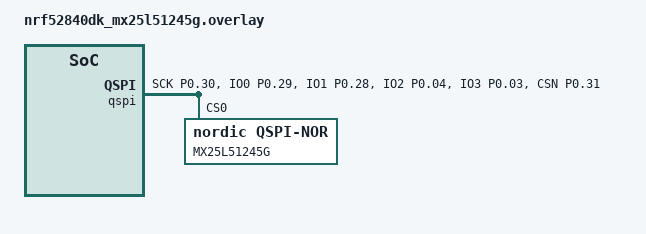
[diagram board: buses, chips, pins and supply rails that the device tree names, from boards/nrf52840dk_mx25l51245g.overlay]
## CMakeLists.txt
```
# SPDX-License-Identifier: Apache-2.0

cmake_minimum_required(VERSION 3.13.1)
find_package(Zephyr REQUIRED HINTS $ENV{ZEPHYR_BASE})
project(nrf_qspi_nor)

FILE(GLOB app_sources src/*.c)
target_sources(app PRIVATE ${app_sources})
```

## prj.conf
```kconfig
CONFIG_TEST=y
CONFIG_ZTEST=y
CONFIG_ZTEST_NEW_API=y
CONFIG_FLASH=y
CONFIG_MAIN_STACK_SIZE=2048
```

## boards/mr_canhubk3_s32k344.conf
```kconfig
# Copyright 2023 NXP
# SPDX-License-Identifier: Apache-2.0

CONFIG_MAIN_STACK_SIZE=1100
```

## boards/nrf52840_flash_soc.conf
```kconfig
# Minimal configuration for testing flash driver
# on nrf52840dk_nrf52840 board

CONFIG_MPU_ALLOW_FLASH_WRITE=y
```

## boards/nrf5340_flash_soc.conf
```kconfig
# Minimal configuration for testing flash driver
# on nrf5340dk_nrf5340 board

CONFIG_MPU_ALLOW_FLASH_WRITE=y
```

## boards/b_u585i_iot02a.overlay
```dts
/*
 * Copyright (c) 2022 STMicroelectronics
 *
 * SPDX-License-Identifier: Apache-2.0
 */

&flash0 {
	partitions {
		compatible = "fixed-partitions";
		#address-cells = <1>;
		#size-cells = <1>;

		/* Set 8KB of storage at the end of 2MB flash */
		storage_partition: partition@1fe000 {
			label = "storage";
			reg = <0x01fe000 0x00002000>;
		};
	};
};
```

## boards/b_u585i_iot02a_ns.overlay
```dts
/*
 * Copyright (c) 2022, STMicroelectronics
 *
 * SPDX-License-Identifier: Apache-2.0
 */
 /{
	chosen {
		zephyr,code-partition = &slot1_ns_partition;
	};
};

&flash0 {
	partitions {
	/delete-node/ slot1_partition;
		/* Non-secure image primary slot */
		slot1_ns_partition: partition@74000 {
			label = "image-1-nonsecure";
			reg = <0x00074000 DT_SIZE_K(512)>;
		};
	};
};
```

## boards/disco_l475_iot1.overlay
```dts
/*
 * Copyright (c) 2022 STMicroelectronics
 *
 * SPDX-License-Identifier: Apache-2.0
 */

&flash0 {
	partitions {
		compatible = "fixed-partitions";
		#address-cells = <1>;
		#size-cells = <1>;

		/* Set 4KB of storage at the end of 1MB flash */
		storage_partition: partition@ff000 {
			label = "storage";
			reg = <0x00ff000 0x00001000>;
		};
	};
};
```

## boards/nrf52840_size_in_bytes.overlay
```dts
/*
 * Copyright (c) 2022, Nordic Semiconductor ASA
 *
 * SPDX-License-Identifier: Apache-2.0
 */

&mx25r64 {
        /delete-property/ size;
        size-in-bytes = <8388608>;
};
```

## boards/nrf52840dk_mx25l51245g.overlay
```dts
/*
 * Copyright (c) 2022 Nordic Semiconductor ASA
 *
 * SPDX-License-Identifier: Apache-2.0
 */

/delete-node/ &mx25r64;

&pinctrl {
	qspi_default: qspi_default {
		group1 {
			psels = <NRF_PSEL(QSPI_SCK, 0, 30)>,
				<NRF_PSEL(QSPI_IO0, 0, 29)>,
				<NRF_PSEL(QSPI_IO1, 0, 28)>,
				<NRF_PSEL(QSPI_IO2, 0, 04)>,
				<NRF_PSEL(QSPI_IO3, 0, 03)>,
				<NRF_PSEL(QSPI_CSN, 0, 31)>;
		};
	};
	qspi_sleep: qspi_sleep {
		group1 {
			psels = <NRF_PSEL(QSPI_SCK, 0, 30)>,
				<NRF_PSEL(QSPI_IO0, 0, 29)>,
				<NRF_PSEL(QSPI_IO1, 0, 28)>,
				<NRF_PSEL(QSPI_IO2, 0, 04)>,
				<NRF_PSEL(QSPI_IO3, 0, 03)>,
				<NRF_PSEL(QSPI_CSN, 0, 31)>;
			low-power-enable;
		};
	};
};

&qspi {
	pinctrl-0 = <&qspi_default>;
	pinctrl-1 = <&qspi_sleep>;
	pinctrl-names = "default", "sleep";

	mx25l51: mx25l51245g@0 {
		compatible = "nordic,qspi-nor";
		reg = <0>;
		/* MX25L5145G supports only pp and pp4io */
		writeoc = "pp4io";
		/* MX25L5145G supports all readoc options */
		readoc = "read4io";
		sck-frequency = <2000000>;
		label = "MX25L51245G";
		jedec-id = [c2 20 1A];
		sfdp-bfp = [
			e5 20 fb ff  1f ff ff ff  44 eb 08 6b  08 3b 04 bb
			fe ff ff ff  ff ff 00 ff  ff ff 44 eb  0c 20 0f 52
			10 d8 00 ff  d6 49 c5 00  81 df 04 e3  44 03 67 38
			30 b0 30 b0  f7 bd d5 5c  4a 9e 29 ff  f0 50 f9 85
		];
		size = <0x20000000>;
		has-dpd;
		t-enter-dpd = <10000>;
		t-exit-dpd = <30000>;
		enter-4byte-addr = <0x85>;
		address-size-32;
	};
};
```

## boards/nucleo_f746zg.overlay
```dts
/*
 * Copyright (c) 2022 STMicroelectronics
 *
 * SPDX-License-Identifier: Apache-2.0
 */

&flash0 {
	partitions {
		compatible = "fixed-partitions";
		#address-cells = <1>;
		#size-cells = <1>;

		/* Set 64KB of storage at the end of 1MB flash */
		storage_partition: partition@2f0000 {
			label = "storage";
			reg = <0x002f0000 0x00010000>;
		};
	};
};
```

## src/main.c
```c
/*
 * Copyright (c) 2020-2022 Nordic Semiconductor ASA
 *
 * SPDX-License-Identifier: Apache-2.0
 */

#include <zephyr/kernel.h>
#include <zephyr/ztest.h>
#include <zephyr/drivers/flash.h>
#include <zephyr/devicetree.h>
#include <zephyr/storage/flash_map.h>

#if defined(CONFIG_NORDIC_QSPI_NOR)
#define TEST_AREA_DEV_NODE	DT_INST(0, nordic_qspi_nor)
#elif defined(CONFIG_SPI_NOR)
#define TEST_AREA_DEV_NODE	DT_INST(0, jedec_spi_nor)
#elif defined(CONFIG_TRUSTED_EXECUTION_NONSECURE)
/* SoC embedded NVM */
#define TEST_AREA	slot1_ns_partition
#else
#define TEST_AREA	storage_partition
#endif

/* TEST_AREA is only defined for configurations that realy on
 * fixed-partition nodes.
 */
#ifdef TEST_AREA
#define TEST_AREA_OFFSET	FIXED_PARTITION_OFFSET(TEST_AREA)
#define TEST_AREA_SIZE		FIXED_PARTITION_SIZE(TEST_AREA)
#define TEST_AREA_MAX		(TEST_AREA_OFFSET + TEST_AREA_SIZE)
#define TEST_AREA_DEVICE	FIXED_PARTITION_DEVICE(TEST_AREA)

#elif defined(TEST_AREA_DEV_NODE)

#define TEST_AREA_DEVICE	DEVICE_DT_GET(TEST_AREA_DEV_NODE)
#define TEST_AREA_OFFSET	0xff000

#if DT_NODE_HAS_PROP(TEST_AREA_DEV_NODE, size_in_bytes)
#define TEST_AREA_MAX DT_PROP(TEST_AREA_DEV_NODE, size_in_bytes)
#else
#define TEST_AREA_MAX (DT_PROP(TEST_AREA_DEV_NODE, size) / 8)
#endif

#else
#error "Unsupported configuraiton"
#endif

#define EXPECTED_SIZE	512
#define CANARY		0xff

static const struct device *const flash_dev = TEST_AREA_DEVICE;
static struct flash_pages_info page_info;
static uint8_t __aligned(4) expected[EXPECTED_SIZE];

static void *flash_driver_setup(void)
{
	int rc;

	zassert_true(device_is_ready(flash_dev));

	const struct flash_parameters *flash_params =
			flash_get_parameters(flash_dev);

	/* For tests purposes use page (in nrf_qspi_nor page = 64 kB) */
	flash_get_page_info_by_offs(flash_dev, TEST_AREA_OFFSET,
				    &page_info);

	/* Check if test region is not empty */
	uint8_t buf[EXPECTED_SIZE];

	rc = flash_read(flash_dev, TEST_AREA_OFFSET,
			buf, EXPECTED_SIZE);
	zassert_equal(rc, 0, "Cannot read flash");

	/* Fill test buffer with random data */
	for (int i = 0; i < EXPECTED_SIZE; i++) {
		expected[i] = i;
	}

	/* Check if tested region fits in flash */
	zassert_true((TEST_AREA_OFFSET + EXPECTED_SIZE) < TEST_AREA_MAX,
		     "Test area exceeds flash size");

	/* Check if flash is cleared */
	bool is_buf_clear = true;

	for (off_t i = 0; i < EXPECTED_SIZE; i++) {
		if (buf[i] != flash_params->erase_value) {
			is_buf_clear = false;
			break;
		}
	}

	if (!is_buf_clear) {
		/* Erase a nb of pages aligned to the EXPECTED_SIZE */
		rc = flash_erase(flash_dev, page_info.start_offset,
				(page_info.size *
				((EXPECTED_SIZE + page_info.size - 1)
				/ page_info.size)));

		zassert_equal(rc, 0, "Flash memory not properly erased");
	}

	return NULL;
}

ZTEST(flash_driver, test_read_unaligned_address)
{
	int rc;
	uint8_t buf[EXPECTED_SIZE];

	rc = flash_write(flash_dev,
			 page_info.start_offset,
			 expected, EXPECTED_SIZE);
	zassert_equal(rc, 0, "Cannot write to flash");

	/* read buffer length*/
	for (off_t len = 0; len < 25; len++) {
		/* address offset */
		for (off_t ad_o = 0; ad_o < 4; ad_o++) {
			/* buffer offset; leave space for buffer guard */
			for (off_t buf_o = 1; buf_o < 5; buf_o++) {
				/* buffer overflow protection */
				buf[buf_o - 1] = CANARY;
				buf[buf_o + len] = CANARY;
				memset(buf + buf_o, 0, len);
				rc = flash_read(flash_dev,
						page_info.start_offset + ad_o,
						buf + buf_o, len);
				zassert_equal(rc, 0, "Cannot read flash");
				zassert_equal(memcmp(buf + buf_o,
						expected + ad_o,
						len),
					0, "Flash read failed at len=%d, "
					"ad_o=%d, buf_o=%d", len, ad_o, buf_o);
				/* check buffer guards */
				zassert_equal(buf[buf_o - 1], CANARY,
					"Buffer underflow at len=%d, "
					"ad_o=%d, buf_o=%d", len, ad_o, buf_o);
				zassert_equal(buf[buf_o + len], CANARY,
					"Buffer overflow at len=%d, "
					"ad_o=%d, buf_o=%d", len, ad_o, buf_o);
			}
		}
	}
}

ZTEST_SUITE(flash_driver, NULL, flash_driver_setup, NULL, NULL, NULL);
```
